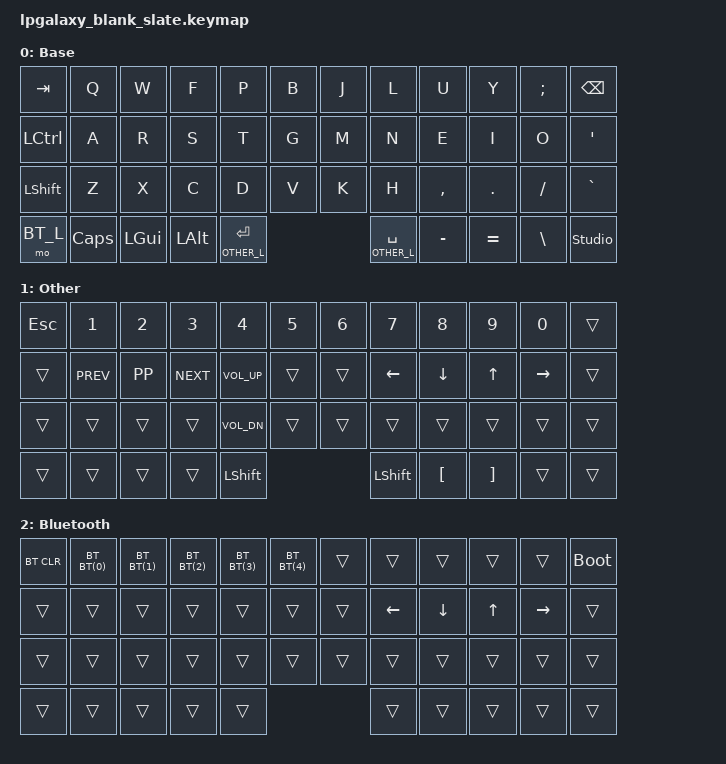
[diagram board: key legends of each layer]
/*
 * Copyright (c) 2022 Pete Johanson
 *
 * SPDX-License-Identifier: MIT
 */

#include <behaviors.dtsi>
#include <dt-bindings/zmk/keys.h>
#include <dt-bindings/zmk/bt.h>
#include <dt-bindings/zmk/outputs.h>

#define COLMAK_BASE 1

// #define TBLE_ORTHO   1
// #define TBLE_MIT     1
#define TBLE_DUAL_2U 1

#define OTHER_L 1
#define BT_L 2
#define SYM_L 3

// Using layer taps on thumbs, having quick tap as well helps w/ repeating space/backspace
&lt { quick_tap_ms = <200>; };

#define BT(n) BT_SEL n

/ {
    chosen {
       zmk,physical-layout =
#ifdef TBLE_DUAL_2U
                       &layout_ortho_4x12_2x2u;
#elif defined(TBLE_MIT)
                       &layout_ortho_4x12_1x2u;
#else
                       &layout_ortho_4x12_all1u;
#endif
    };

    macros {
      ZMK_MACRO(thumbs_up,
		wait-ms = <1>;
		tap-ms = <5>;
                bindings = <&kp PLUS &kp COLON &kp PLUS &kp N1 &kp COLON &kp RET>;
		)
    };
    
    tap_dances {
    	shifty: shift_caps_word {
		compatible = "zmk,behavior-tap-dance";
		label = "TD_SHIFTY";
		#binding-cells = <0>;
		tapping-term-ms = <150>;
		bindings = <&kp LSHFT>, <&caps_word>;
	};
    };

    keymap {
        compatible = "zmk,keymap";

        base_layer {
            label = "Base";
            bindings = <
 &kp TAB    &kp Q      &kp W      &kp F       &kp P          &kp B          &kp J            &kp L          &kp U       &kp Y      &kp SEMI      &kp BKSP
 &kp LCTRL  &kp A      &kp R      &kp S       &kp T          &kp G          &kp M            &kp N          &kp E       &kp I      &kp O         &kp QUOT
 &kp LSHFT  &kp Z      &kp X      &kp C       &kp D          &kp V          &kp K            &kp H          &kp COMMA   &kp DOT    &kp FSLH      &kp GRAVE
 &mo BT_L   &kp CAPS   &kp LGUI   &kp LALT          &lt OTHER_L ENTER              &lt OTHER_L SPACE        &kp MINUS   &kp EQUAL  &kp BSLH      &studio_unlock
            >;
        };

        other_layer {
	    label = "Other";
            bindings = <
 &kp ESC    &kp N1     &kp N2     &kp N3      &kp N4         &kp N5         &kp N6           &kp N7         &kp N8      &kp N9     &kp N0        &trans
 &trans     &kp K_PREV &kp K_PP   &kp K_NEXT  &kp C_VOL_UP   &trans         &trans           &kp LEFT       &kp DOWN    &kp UP     &kp RIGHT     &trans     
 &trans     &trans     &trans     &trans      &kp C_VOL_DN   &trans         &trans           &trans         &trans      &trans     &trans        &trans
 &trans     &trans     &trans     &trans            &kp LSHFT                     &kp LSHFT                 &kp LBKT    &kp RBKT   &trans        &trans
            >;
	};

        bt_layer {
            label = "Bluetooth";
            bindings = <
&bt BT_CLR &bt BT(0)  &bt BT(1)  &bt BT(2)   &bt BT(3)       &bt BT(4)    &trans     &trans         &trans      &trans     &trans     &bootloader
&trans     &trans     &trans     &trans      &trans          &trans       &trans     &kp LEFT       &kp DOWN    &kp UP     &kp RIGHT  &trans
&trans     &trans     &trans     &trans      &trans          &trans       &trans     &trans         &trans      &trans     &trans     &trans
&trans     &trans     &trans     &trans              &trans                    &trans               &trans      &trans     &trans     &trans
            >;
        };
    };
};

